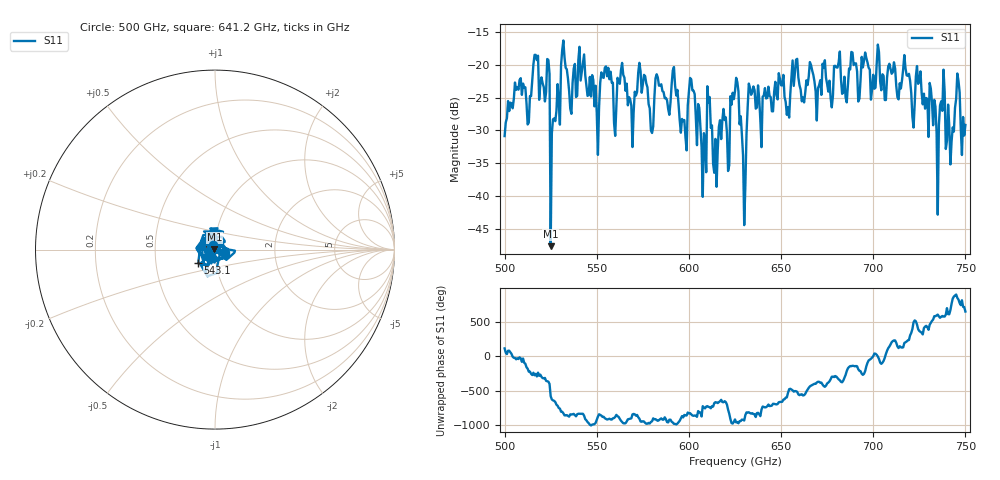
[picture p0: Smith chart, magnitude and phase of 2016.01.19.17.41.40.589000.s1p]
!Created with skrf (http://scikit-rf.org).
# GHz S RI R 50.0
!freq ReS11 ImS11
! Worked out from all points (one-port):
!   401 points, 500 GHz to 750 GHz, reference 50 ohm
!   lowest |S11| = -47.7 dB at 525 GHz (marker M1), VSWR 1.01, Z = 49.7 + j0.264 ohm
!   |S11| at or under -10 dB: start of sweep to end of sweep
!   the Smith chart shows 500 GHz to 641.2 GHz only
!   S11 on the Smith chart (normalised r, x): 500 GHz: 0.98, +0.05; 543.1 GHz: 0.82, -0.13; 641.2 GHz: 1.13, -0.05
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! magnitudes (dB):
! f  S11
! 500 GHz  -30.9
! 513.1 GHz  -28.8
! 516.9 GHz  -18.4
! 523.1 GHz  -19.1
! 525 GHz  -47.7
! 526.2 GHz  -28.3
! 531.2 GHz  -17.7
! 543.1 GHz  -18.4
! 550 GHz  -27.3
! 562.5 GHz  -22.9
! 593.8 GHz  -23.8
! 597.5 GHz  -28.4
! 601.9 GHz  -23.9
! 608.1 GHz  -30.4
! 611.2 GHz  -24.9
! 614.4 GHz  -31.3
! 625 GHz  -24.0
! 630 GHz  -44.5
! 633.8 GHz  -24.5
! 641.2 GHz  -23.5
! 656.2 GHz  -19.3
! 687.5 GHz  -20.7
! 718.8 GHz  -21.7
! 733.8 GHz  -26.4
! 737.5 GHz  -27.0
! 742.5 GHz  -31.7
! 745.6 GHz  -21.3
! 750 GHz  -29.2
